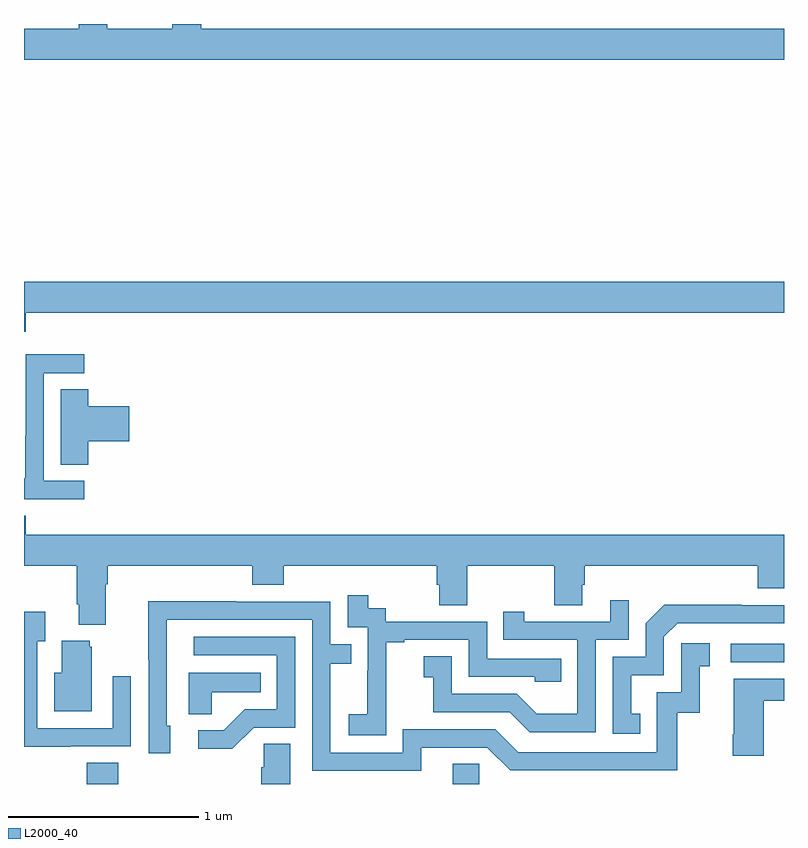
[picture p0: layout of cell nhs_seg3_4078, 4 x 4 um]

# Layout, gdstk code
import gdstk
lib = gdstk.Library(unit=1e-6, precision=1e-09)
def R(c, l, rs):  # rectangles x0, y0, x1, y1
    for r in rs: c.add(gdstk.rectangle(r[:2], r[2:], *l))
def P(c, l, *ps):  # polygons
    for p in ps: c.add(gdstk.Polygon(p, *l))
L2000_40 = (2000, 40)

nhs_seg3_4078 = lib.new_cell('nhs_seg3_4078')
R(nhs_seg3_4078, L2000_40, [(325.331,734.4,325.496,734.513), (327.257,734.4,327.396,734.507), (328.719,735.042,329,735.138)])
P(nhs_seg3_4078, L2000_40, [(329,738.376),(325.934,738.376),(325.934,738.4),(325.781,738.4),(325.781,738.376),(325.437,738.376),(325.437,738.4),(325.289,738.4),(325.289,738.376),(325,738.376),(325,738.212),(329,738.212)],
  [(325.01,736.88),(329,736.88),(329,737.044),(325,737.044),(325,736.781),(325.01,736.781)],
  [(325.318,735.996),(325.104,735.996),(325.104,736.563),(325.318,736.563),(325.318,736.662),(325.008,736.662),(325.008,736.232),(325.006,736.232),(325.006,736.009),(325,736.009),(325,735.9),(325.318,735.9)],
  [(325.337,736.205),(325.555,736.205),(325.555,736.388),(325.337,736.388),(325.337,736.478),(325.193,736.478),(325.193,736.081),(325.337,736.081)],
  [(325.429,735.452),(325.442,735.452),(325.442,735.548),(326.201,735.548),(326.201,735.449),(326.366,735.449),(326.366,735.548),(327.173,735.548),(327.173,735.45),(327.185,735.45),(327.185,735.34),(327.333,735.34),(327.333,735.548),(327.79,735.548),(327.79,735.34),(327.937,735.34),(327.937,735.45),(327.95,735.45),(327.95,735.548),(328.862,735.548),(328.862,735.431),(329,735.431),(329,735.712),(325.01,735.712),(325.01,735.811),(325,735.811),(325,735.548),(325.277,735.548),(325.277,735.346),(325.289,735.346),(325.289,735.239),(325.429,735.239)],
  [(326.907,734.863),(326.906,734.863),(326.906,735.147),(327.001,735.147),(327.001,735.159),(327.342,735.159),(327.342,734.964),(327.687,734.964),(327.687,734.937),(327.827,734.937),(327.827,735.06),(327.438,735.06),(327.438,735.255),(326.904,735.255),(326.904,735.324),(326.812,735.324),(326.812,735.394),(326.703,735.394),(326.703,735.225),(326.808,735.225),(326.808,734.996),(326.807,734.996),(326.807,734.767),(326.709,734.767),(326.709,734.657),(326.907,734.657)],
  [(328.008,735.159),(328.182,735.159),(328.182,735.367),(328.085,735.367),(328.085,735.255),(327.634,735.255),(327.634,735.307),(327.523,735.307),(327.523,735.159),(327.912,735.159),(327.912,734.77),(327.698,734.77),(327.594,734.874),(327.252,734.874),(327.252,735.073),(327.105,735.073),(327.105,734.963),(327.154,734.963),(327.154,734.778),(327.557,734.778),(327.662,734.673),(328.008,734.673)],
  [(327.091,734.592),(327.438,734.592),(327.558,734.472),(328.438,734.472),(328.438,734.775),(328.556,734.775),(328.556,735.021),(328.609,735.021),(328.609,735.142),(328.458,735.142),(328.458,734.883),(328.329,734.883),(328.329,734.568),(327.6,734.568),(327.48,734.688),(326.994,734.688),(326.994,734.565),(326.613,734.565),(326.613,735.034),(326.723,735.034),(326.723,735.135),(326.613,735.135),(326.613,735.36),(326.117,735.36),(326.117,735.362),(325.654,735.362),(325.654,735.055),(325.656,735.055),(325.656,734.562),(325.771,734.562),(325.771,734.706),(325.752,734.706),(325.752,735.264),(326.517,735.264),(326.517,734.469),(327.091,734.469)],
  [(328.244,734.769),(328.195,734.769),(328.195,734.973),(328.368,734.973),(328.368,735.174),(328.44,735.246),(329,735.246),(329,735.342),(328.778,735.342),(328.778,735.344),(328.37,735.344),(328.272,735.246),(328.272,735.069),(328.098,735.069),(328.098,734.664),(328.244,734.664)],
  [(325.247,734.598),(325.563,734.598),(325.563,734.968),(325.467,734.968),(325.467,734.694),(325.071,734.694),(325.071,735.151),(325.111,735.151),(325.111,735.307),(325,735.307),(325,734.597),(325.247,734.597)],
  [(326.208,734.697),(326.427,734.697),(326.427,735.174),(325.893,735.174),(325.893,735.078),(326.331,735.078),(326.331,734.793),(326.162,734.793),(326.051,734.682),(325.917,734.682),(325.917,734.585),(326.095,734.585)],
  [(325.357,735.123),(325.346,735.123),(325.346,735.154),(325.199,735.154),(325.199,734.986),(325.16,734.986),(325.16,734.783),(325.357,734.783)],
  [(325.989,734.882),(326.246,734.882),(326.246,734.986),(325.868,734.986),(325.868,734.767),(325.989,734.767)],
  [(328.894,734.839),(329,734.839),(329,734.953),(328.736,734.953),(328.736,734.662),(328.729,734.662),(328.729,734.55),(328.894,734.55)],
  [(326.401,734.612),(326.262,734.612),(326.262,734.489),(326.249,734.489),(326.249,734.4),(326.401,734.4)])

lib.write_gds('nhs_seg3_4078.gds')
